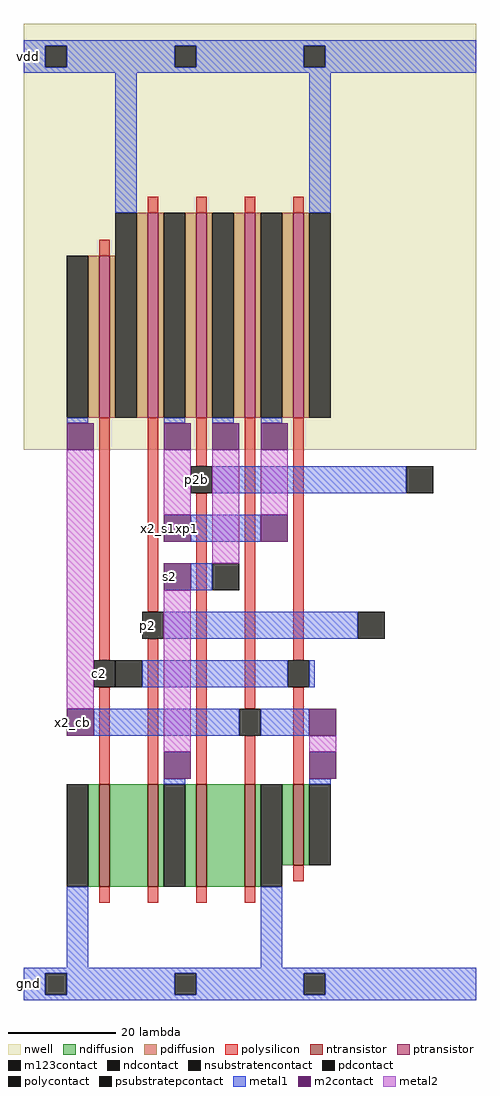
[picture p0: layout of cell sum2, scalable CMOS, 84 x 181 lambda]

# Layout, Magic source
magic
tech scmos
<< nwell >>
rect 0 102 84 181
<< ntransistor >>
rect 14 21 16 40
rect 23 21 25 40
rect 32 21 34 40
rect 41 21 43 40
rect 50 25 52 40
<< ptransistor >>
rect 14 108 16 138
rect 23 108 25 146
rect 32 108 34 146
rect 41 108 43 146
rect 50 108 52 146
<< ndiffusion >>
rect 12 21 14 40
rect 16 21 23 40
rect 25 21 26 40
rect 30 21 32 40
rect 34 21 41 40
rect 43 21 44 40
rect 48 25 50 40
rect 52 25 53 40
<< pdiffusion >>
rect 12 108 14 138
rect 16 108 17 138
rect 21 108 23 146
rect 25 108 26 146
rect 30 108 32 146
rect 34 108 35 146
rect 39 108 41 146
rect 43 108 44 146
rect 48 108 50 146
rect 52 108 53 146
<< ndcontact >>
rect 8 21 12 40
rect 26 21 30 40
rect 44 21 48 40
rect 53 25 57 40
<< pdcontact >>
rect 8 108 12 138
rect 17 108 21 146
rect 26 108 30 146
rect 35 108 39 146
rect 44 108 48 146
rect 53 108 57 146
<< psubstratepcontact >>
rect 4 1 8 5
rect 28 1 32 5
rect 52 1 56 5
<< nsubstratencontact >>
rect 4 173 8 177
rect 28 173 32 177
rect 52 173 56 177
<< polysilicon >>
rect 23 146 25 149
rect 32 146 34 149
rect 41 146 43 149
rect 50 146 52 149
rect 14 138 16 141
rect 14 63 16 108
rect 23 72 25 108
rect 32 99 34 108
rect 14 40 16 58
rect 23 40 25 67
rect 32 40 34 94
rect 41 54 43 108
rect 50 63 52 108
rect 41 40 43 49
rect 50 40 52 58
rect 50 22 52 25
rect 14 18 16 21
rect 23 18 25 21
rect 32 18 34 21
rect 41 18 43 21
<< polycontact >>
rect 31 94 35 99
rect 22 67 26 72
rect 13 58 17 63
rect 49 58 53 63
rect 40 49 44 54
<< metal1 >>
rect 0 177 84 178
rect 0 173 4 177
rect 8 173 28 177
rect 32 173 52 177
rect 56 173 84 177
rect 0 172 84 173
rect 17 146 21 172
rect 53 146 57 172
rect 8 107 12 108
rect 26 107 30 108
rect 35 107 39 108
rect 44 107 48 108
rect 35 94 71 99
rect 31 85 44 90
rect 31 76 35 81
rect 26 67 62 72
rect 22 58 49 63
rect 53 58 54 63
rect 13 49 40 54
rect 44 49 53 54
rect 26 40 30 41
rect 53 40 57 41
rect 8 6 12 21
rect 44 6 48 21
rect 0 5 84 6
rect 0 1 4 5
rect 8 1 28 5
rect 32 1 52 5
rect 56 1 84 5
rect 0 0 84 1
<< m2contact >>
rect 8 102 13 107
rect 26 102 31 107
rect 35 102 40 107
rect 44 102 49 107
rect 26 85 31 90
rect 44 85 49 90
rect 26 76 31 81
rect 8 49 13 54
rect 53 49 58 54
rect 26 41 31 46
rect 53 41 58 46
<< metal2 >>
rect 8 54 13 102
rect 26 90 31 102
rect 35 81 40 102
rect 44 90 49 102
rect 26 46 31 76
rect 53 46 58 49
<< m123contact >>
rect 71 94 76 99
rect 35 76 40 81
rect 17 58 22 63
rect 62 67 67 72
<< labels >>
rlabel metal1 13 58 15 63 0 c2
port 1 nsew
rlabel metal1 22 67 24 72 0 p2
port 2 nsew
rlabel metal1 31 94 33 99 0 p2b
port 3 nsew
rlabel m2contact 26 76 28 81 0 s2
port 4 nsew
rlabel m2contact 8 49 10 54 0 x2_cb
rlabel m2contact 26 85 28 90 0 x2_s1xp1
rlabel metal1 0 172 2 178 0 vdd
port 5 nsew
rlabel metal1 0 0 2 6 0 gnd
port 6 nsew
<< end >>
